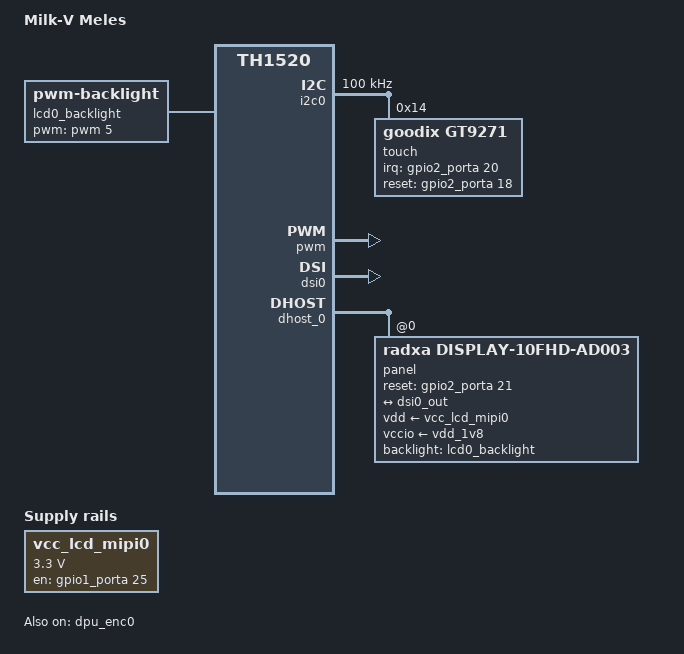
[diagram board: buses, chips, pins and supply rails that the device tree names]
/* SPDX-License-Identifier: GPL-2.0 */
/*
 * Copyright (C) 2021-2022 Alibaba Group Holding Limited.
 */

/dts-v1/;

#include "th1520-milkv-meles.dts"

/ {
	model = "Milk-V Meles";
	compatible = "milkv,meles", "thead,light";

	lcd0_backlight: pwm-backlight@0 {
		status = "okay";
		compatible = "pwm-backlight";
		pwms = <&pwm 5 25000>;
		brightness-levels = <0 4 8 16 32 64 128 255>;
		default-brightness-level = <7>;
	};

	vcc_lcd_mipi0: vcc-lcd-mipi0 {
		status = "okay";
		compatible = "regulator-fixed";
		regulator-name = "vcc_lcd_mipi0";
		gpio = <&gpio1_porta 25 0>;
		enable-active-high;
		regulator-boot-on;
		regulator-min-microvolt = <3300000>;
		regulator-max-microvolt = <3300000>;
	};
};

&i2c0 {
	clock-frequency = <100000>;
	status = "okay";

	touch@14 {
		#gpio-cells = <2>;
		compatible = "goodix,gt9271";
		reg = <0x14>;
		interrupt-parent = <&gpio2_porta>;
		interrupts = <20 0>;
		irq-gpios = <&gpio2_porta 20 0>;
		reset-gpios = <&gpio2_porta 18 0>;
		pinctrl-names = "default";
		pinctrl-0 = <&pinctrl_touch_gpios>;
	};
};

&padctrl0_apsys {
	light-evb-padctrl0 {
		pinctrl_dsi0_panel_gpio: dsi0-panel-gpio-group {
			thead,pins = <
				FM_GPIO2_21	0x0	0x238
			>;
		};

		pinctrl_touch_gpios: touch-gpios-group {
			thead,pins = <
				FM_GPIO2_18	0x0	0x238
				FM_GPIO2_20	0x0	0x208
			>;
		};
	};
};

&pwm {
	status = "okay";
};

&dpu_enc0 {
	status = "okay";

	ports {
		/* output */
		port@1 {
			reg = <1>;

			enc0_out: endpoint {
				remote-endpoint = <&dsi0_in>;
			};
		};
	};
};

/delete-node/ &disp1_out;

/delete-node/ &hdmi_tx;

&dsi0 {
        status = "okay";
};

&dhost_0 {
	ports {
		#address-cells = <1>;
		#size-cells = <0>;

		port@0 {
			reg = <0>;

			dsi0_in: endpoint {
				remote-endpoint = <&enc0_out>;
			};
		};

		port@1 {
			reg = <1>;

			dsi0_out: endpoint {
				remote-endpoint = <&panel_in>;
			};
		};
	};

	panel@0 {
		compatible = "radxa,display-10fhd-ad003";
		reg = <0>;
		backlight = <&lcd0_backlight>;
		vdd-supply = <&vcc_lcd_mipi0>;
		vccio-supply = <&vdd_1v8>;
		reset-gpios = <&gpio2_porta 21 0>;
		pinctrl-names = "default";
		pinctrl-0 = <&pinctrl_dsi0_panel_gpio>;

		port {
			panel_in: endpoint {
				remote-endpoint = <&dsi0_out>;
			};
		};
	};
};
